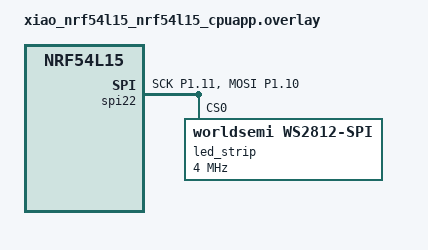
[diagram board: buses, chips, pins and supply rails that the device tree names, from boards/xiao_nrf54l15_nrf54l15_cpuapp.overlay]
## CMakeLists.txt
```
cmake_minimum_required(VERSION 3.20.0)
find_package(Zephyr REQUIRED HINTS $ENV{ZEPHYR_BASE})

project(pixel_xiao_nrf54)

target_include_directories(app PRIVATE
    ${CMAKE_CURRENT_SOURCE_DIR}/../../include   # aura_radio.h - protocol truth
    ${CMAKE_CURRENT_SOURCE_DIR}/../common       # aura_band.h  - shared band layer
)

target_sources(app PRIVATE src/main.c)

# The shared band layer needs the 802.15.4 stack, so key it off the Kconfig
# rather than a separate CMake flag - one switch instead of two that have to
# agree. noradio.conf turns CONFIG_IEEE802154 off and the band layer drops
# out of the build with it.
if(CONFIG_IEEE802154)
  target_sources(app PRIVATE ../common/aura_band.c)
else()
  message(STATUS "aura_band: CONFIG_IEEE802154=n - shared band layer excluded")
endif()
```

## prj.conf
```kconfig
# --- NeoPixel (WS2812) on D4 via SPIM22 ---
CONFIG_SPI=y
CONFIG_LED_STRIP=y
# Selected automatically from the DT compat; listed here for clarity.
CONFIG_WS2812_STRIP_SPI=y

# The nrfx SPIM driver bounces a transfer through a RAM buffer when it judges
# the source not to be DMA-accessible; the default is 8 bytes, which would
# chunk our 24-byte pixel buffer into three transfers. Make it big enough to
# take the whole thing in one go.
CONFIG_SPI_NRFX_RAM_BUFFER_SIZE=32

# --- 802.15.4 raw mode: the driver hands full PSDUs to the shared band
#     layer's net_recv_data() override, same mechanism as the gateway. ---
CONFIG_NETWORKING=y
CONFIG_IEEE802154=y
CONFIG_IEEE802154_RAW_MODE=y
CONFIG_NET_PKT_TIMESTAMP=y
# Matched to AURA/seeedFirmware, which is a WORKING BAND on this silicon
# running the identical aura_band.c. Diverging from it was not worth the few
# KB it saved.
#
# CONFIG_MAIN_STACK_SIZE is deliberately ABSENT. The Seeed board defconfig
# sets 3584; the original hello-world prj.conf here overrode it down to 2048
# and that override survived into the radio firmware. main() runs the whole
# of aura_band_init() - MPSL and the 802.15.4 stack come up underneath it -
# and a main-stack overflow scribbles into low RAM, which is exactly where
# .data lives: _sw_isr_table at 0x2000031c and the net_buf pools at
# 0x20000d20. Both were seen corrupted. Let the board default stand.
CONFIG_NRF_802154_RX_BUFFERS=120

# The FICR device id becomes our 16-bit short address - no provisioning step.
CONFIG_HWINFO=y

# --- Console OFF for battery operation ---
#
# A UART console/shell backend waits on the port and blocks boot when the
# module runs from its cell with no USB attached - the band comes up dark and
# silent and looks dead. Same reason AURA/seeedFirmware ships this way.
#
# The cost is no visibility at all, so the boot blink in main() is the
# diagnostic instead: two white flashes = powered and running.
#
# For bring-up, build with -DEXTRA_CONF_FILE=debug.conf (see debug.conf).
CONFIG_SERIAL=n
CONFIG_UART_CONSOLE=n
CONFIG_UART_INTERRUPT_DRIVEN=n
CONFIG_STDOUT_CONSOLE=n
CONFIG_SHELL=n
CONFIG_SHELL_BACKEND_SERIAL=n

CONFIG_LOG=n
CONFIG_LOG_BACKEND_UART=n

CONFIG_BOOT_BANNER=n
CONFIG_NCS_BOOT_BANNER=n

CONFIG_USB_DEVICE_STACK=n
CONFIG_GPIO=y
```

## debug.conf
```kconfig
# Bench profile: console only. Nothing else.
#
# VS Code -> Add Build Configuration -> Extra Kconfig fragments: debug.conf
#
# prj.conf ships with serial and logging off: a UART console backend blocks
# boot when the board runs from its battery with no USB attached. Do NOT
# flash a debug build for a battery demo.
#
# Console is uart20 -> onboard SAMD11 -> USB-C. CoolTerm 115200 8N1.
#
# WHY THERE IS NOTHING ELSE IN HERE
#
# CONFIG_ASSERT=y used to be in this file and it made the board completely
# dead - no boot blink, no console, on a stage that blinked fine without it.
# Asserts turn a driver init failure that was previously logged and ignored
# into a halt, and that halt can happen before the console exists, so you
# lose the blink AND the message that would explain it. A debug profile that
# makes the board less diagnosable is worse than no debug profile.
#
# Add things back ONE at a time, and only once plain console output works.

CONFIG_SERIAL=y
CONFIG_UART_CONSOLE=y
CONFIG_STDOUT_CONSOLE=y
CONFIG_PRINTK=y

CONFIG_LOG=y
CONFIG_LOG_BACKEND_UART=y
CONFIG_LOG_DEFAULT_LEVEL=3
CONFIG_LOG_MODE_DEFERRED=y
```

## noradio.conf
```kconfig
# Bisect fragment: strip the radio out entirely.
#
# VS Code -> Add Build Configuration -> Extra Kconfig fragments: noradio.conf
# Also set AURA_BAND_STAGE to 1 at the top of src/main.c.
#
# Nothing else. CMakeLists.txt keys the band layer off CONFIG_IEEE802154, so
# turning the radio off here drops aura_band.c from the build automatically.
#
# Together those give a build with no 802.15.4 stack, no aura_band.c linked,
# and no reference to either from main() - just the WS2812 blink. If THAT
# faults, the problem is the board or the base configuration, and nothing
# in the Aetherfield firmware is implicated.

CONFIG_NETWORKING=n
CONFIG_IEEE802154=n
CONFIG_IEEE802154_RAW_MODE=n
CONFIG_NET_PKT_TIMESTAMP=n
CONFIG_HWINFO=n
```

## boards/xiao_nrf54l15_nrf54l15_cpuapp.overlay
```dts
/*
 * NeoPixel (WS2812B) hello-world for Seeed XIAO nRF54L15.
 *
 * Wiring
 *   D4  (P1.10)  -> [470R] -> DIN on the pixel
 *   BAT (+)      -> pixel VDD      (1S LiPo, 3.5-4.2V)
 *   GND          -> pixel GND      (must be common with the XIAO's GND)
 *   10uF across the pixel's VDD/GND, physically at the pixel.
 *
 * The pixel is clocked out by SPIM22 using the standard Zephyr ws2812-spi
 * driver: every WS2812 data bit becomes one 8-bit SPI frame at 4 MHz, so the
 * waveform is generated by EasyDMA and is immune to interrupt jitter. No
 * bit-banging - and no choice in the matter, since Zephyr's ws2812-gpio
 * bitbang driver is gated on nRF51/52/53/91 and does not support nRF54.
 *
 * Why instance 22 specifically
 *   On the nRF54L15 each "serial box" (20, 21, 22, ...) is ONE peripheral that
 *   can be a UARTE *or* SPIM *or* TWIM - never two at once. The SoC enforces
 *   this with a BUILD_ASSERT, so picking a busy box fails the build:
 *     box 20 -> uart20  is the console (zephyr,console / shell)
 *     box 21 -> uart21  is xiao_serial, enabled by the board
 *     box 22 -> i2c22   is xiao_i2c, and its pins are ALREADY D4/D5
 *   So box 22 is both the free one and the one that owns the pins we want.
 *   We disable i2c22 and take the box as SPIM22.
 *
 * D5 (P1.11) is burned as a dummy SCK - the nRF SPIM peripheral requires a
 * clock pin even though the WS2812 never sees it. It was i2c22's SCL anyway,
 * so no pin is lost that wasn't already spoken for. Nothing is connected to it;
 * it just wiggles at 4 MHz during an update.
 *
 * MISO is deliberately unassigned - the WS2812 is write-only, and the board's
 * own spi22_default would have put MISO on P1.09, which is uart20's TX.
 *
 * Consequence: this project cannot also use the board's I2C bus on D4/D5.
 * If this gets merged into seeedFirmware alongside the LP5012 (i2c22), the
 * pixel has to move to another box + pins.
 */

#include <zephyr/dt-bindings/led/led.h>

&gpio1 {
	status = "okay";
};

/* Release the box and the D4/D5 pins. */
&i2c22 {
	status = "disabled";
};

/*
 * The board DTS enables spi00 (xiao_spi - the D8/D9/D10 header SPI) by
 * default. We never use it, but the moment CONFIG_SPI=y is set for the
 * WS2812 the driver initialises EVERY enabled SPI instance, including this
 * one. SPIM00 lives in the nRF54L "fast" peripheral domain alongside the
 * radio's clocking, so it is not something to leave running by accident on
 * a board whose whole job is 802.15.4.
 *
 * The gateway firmware never hit this because it has no SPI at all - which
 * is exactly why the same board runs the gateway image happily and would
 * not run this one.
 */
&spi00 {
	status = "disabled";
};

&pinctrl {
	spi22_ws2812: spi22_ws2812 {
		group1 {
			psels = <NRF_PSEL(SPIM_SCK, 1, 11)>,   /* D5, dummy clock */
				<NRF_PSEL(SPIM_MOSI, 1, 10)>;  /* D4, pixel data  */
		};
	};

	spi22_ws2812_sleep: spi22_ws2812_sleep {
		group1 {
			psels = <NRF_PSEL(SPIM_SCK, 1, 11)>,
				<NRF_PSEL(SPIM_MOSI, 1, 10)>;
			low-power-enable;
		};
	};
};

&spi22 {
	status = "okay";
	pinctrl-0 = <&spi22_ws2812>;
	pinctrl-1 = <&spi22_ws2812_sleep>;
	pinctrl-names = "default", "sleep";

	led_strip: ws2812@0 {
		compatible = "worldsemi,ws2812-spi";
		reg = <0>;

		/* 8 SPI bits per WS2812 bit @ 4 MHz = 2us bit period.
		 * Box 22 tops out at 8 MHz (P1 is the 8 MHz port), so 4 MHz is
		 * comfortably in range.
		 */
		spi-max-frequency = <4000000>;
		spi-one-frame = <0x70>;   /* 0.75us high */
		spi-zero-frame = <0x40>;  /* 0.25us high */

		chain-length = <1>;
		color-mapping = <LED_COLOR_ID_GREEN
				 LED_COLOR_ID_RED
				 LED_COLOR_ID_BLUE>;

		/* WS2812B latches on >50us idle; 280us covers the -B/-V5 parts. */
		reset-delay = <280>;
	};
};

/ {
	aliases {
		led-strip = &led_strip;
	};
};
```

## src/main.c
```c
/*
 * pixel-xiao-nRF54 - single-NeoPixel Aetherfield band, protocol v2
 *
 * XIAO nRF54L15 (non-Sense: no IMU, no mic) + one WS2812B on D4 (P1.10),
 * powered from the 1S LiPo. Design study for the Las Vegas single-pixel
 * form factor.
 *
 * Everything that makes this a band - radio, CMD/SYNC receive, the op_mode
 * state machine, the animation engine, beacons - lives in the shared layer
 * at AURA/common/aura_band.c. All this file does is turn one commanded
 * colour into one WS2812 write.
 *
 * That is the whole point of the v2 capability model. This board advertises
 * AURA_CAPS_PIXEL_XIAO (RGB_LED only), receives exactly the same command
 * frame as a fully-loaded wristband, and acts on the parts it has hardware
 * for. No special case, no separate firmware branch.
 */

/* ------------------------------------------------------------------
 * BISECT STAGE - set this, rebuild, watch the LED.
 *
 * The board is hard-faulting and the console is not reaching us, so the
 * pixel itself is the debug channel. Each stage adds one layer and has its
 * own colour. Whichever stage stops blinking is the layer that faults.
 *
 *   1  WHITE  blink forever. No radio at all - proves the base build,
 *             the WS2812 path and that main() runs.
 *   2  GREEN  blink forever, radio brought up and beaconing, but with
 *             render = NULL so the animation thread never touches SPI.
 *             Survives => radio init and TX are fine.
 *   3  normal operation. The band renders whatever the gateway commands.
 *
 * A stage that faults dies mid-blink: the LED freezes or goes dark and
 * stays there. Note which one and tell me.
 * ------------------------------------------------------------------ */
#define AURA_BAND_STAGE 3

/* ------------------------------------------------------------------
 * PIXEL_DRIVE - does anything ever touch the SPI bus?
 *
 *   0  the strip is never written. CONFIG_SPI, the WS2812 driver and the
 *      SPIM22 instance are all still built and initialised, but no EasyDMA
 *      transfer ever runs. The pixel stays dark - that is expected.
 *   1  normal.
 *
 * This exists to split a hypothesis. The wristband runs the identical
 * aura_band.c perfectly, so the fault is something this project adds. The
 * net_buf pool is already corrupt on the FIRST radio transmit, and the only
 * thing that has run before then is a handful of WS2812 transfers during the
 * boot blink. If PIXEL_DRIVE 0 fixes the radio, the corruption comes from
 * the SPI TRANSFER (EasyDMA), not merely from the driver existing - and that
 * is a completely different bug to chase.
 * ------------------------------------------------------------------ */
#define PIXEL_DRIVE 1

#include <zephyr/kernel.h>
#include <zephyr/device.h>
#include <zephyr/drivers/led_strip.h>
#include <zephyr/drivers/regulator.h>
#include <zephyr/logging/log.h>


#if AURA_BAND_STAGE > 1
#include "aura_band.h"
#endif

LOG_MODULE_REGISTER(pixel, LOG_LEVEL_INF);


#define STRIP_NODE DT_ALIAS(led_strip)
#define STRIP_LEN  DT_PROP(STRIP_NODE, chain_length)

static const struct device *const strip = DEVICE_DT_GET(STRIP_NODE);
static struct led_rgb pixels[STRIP_LEN];
static bool g_have_strip;

/* The one seam. Called at 50 Hz by the shared animation thread.
 *
 * Every pixel gets the same colour: v2 treats a device as ONE light source
 * however many LEDs it carries, so a longer chain here is a devicetree
 * change (chain-length) and nothing else. Spatial modes are reserved at
 * anim_mode 0x10+ for when that stops being true. */
static void pixel_render(uint8_t r, uint8_t g, uint8_t b)
{
	static uint8_t last_r, last_g, last_b;
	static bool primed;

	if (!g_have_strip || !PIXEL_DRIVE) {
		return;
	}

	/* Only touch the bus when the colour actually changes.
	 *
	 * The animation layer runs at 50 Hz, but a STEADY colour or an OFF
	 * pixel produces the same triple every frame. Rewriting it 50 times a
	 * second costs a ~400us SPI burst plus the WS2812 latch delay each
	 * time, for no visible difference - real current on a wearable running
	 * off a cell, and needless bus traffic next to a timing-sensitive
	 * radio. Animations still update every frame, because their colour is
	 * genuinely changing. */
	if (primed && r == last_r && g == last_g && b == last_b) {
		return;
	}
	last_r = r; last_g = g; last_b = b;
	primed = true;

	for (size_t i = 0; i < STRIP_LEN; i++) {
		pixels[i].r = r;
		pixels[i].g = g;
		pixels[i].b = b;
	}
	(void)led_strip_update_rgb(strip, pixels, STRIP_LEN);
}

/* Bring-up trace. One BLUE flash per completed init step, so with no console
 * the LED counts out how far aura_band_init() got. Count the blue flashes:
 *   1 entered  2 address  3 radio device  4 antenna
 *   5 PIB      6 radio started            7 about to start threads
 * Whatever number it stops at is the last step that worked.
 *
 * Nothing may drive the LED after step 7 - from there the animation thread
 * owns it, and a second thread in the same SPI path is a fault. */
#if IS_ENABLED(CONFIG_LOG)
static void init_progress(uint8_t step)
{
	ARG_UNUSED(step);
	pixel_render(0, 0, 120);
	k_msleep(90);
	pixel_render(0, 0, 0);
	k_msleep(260);
}
#endif /* CONFIG_LOG */

/* Blink forever in one colour. Used by the bisect stages: a frozen or dark
 * LED means we faulted, and the colour says how far we got. */
static void blink_forever(uint8_t r, uint8_t g, uint8_t b)
{
	while (1) {
		pixel_render(r, g, b);
		k_msleep(250);
		pixel_render(0, 0, 0);
		k_msleep(750);
	}
}

int main(void)
{
	/* ------------------------------------------------------------------
	 * COLD-BOOT POWER BUDGET
	 *
	 * This board runs on USB, and RUNS on battery if booted on USB first -
	 * but a cold boot on battery can fail entirely. That pattern is
	 * brownout: boot stacks the HFXO start, MPSL radio bring-up, regulator
	 * switching and LED current into the first couple of seconds, and a
	 * cell (plus thin leads) sags under the surge where a USB supply does
	 * not. The nRF hits its reset threshold and loops, looking stone dead.
	 *
	 * So boot is deliberately staggered: settle, then the cheapest visible
	 * "alive" signal, then settle again, then the radio. Total ~1s.
	 * ------------------------------------------------------------------ */

	/* 1. Let the rail recover from the power-on transient before adding
	 *    any load at all. */
	k_msleep(400);

	/* 2. VBAT rail, explicitly - AURA/seeedFirmware does the same and
	 *    notes it is required for battery operation. */
	const struct device *vbat = DEVICE_DT_GET_OR_NULL(DT_NODELABEL(vbat_pwr));

	if (vbat && device_is_ready(vbat)) {
		(void)regulator_enable(vbat);
		k_msleep(100);          /* let it settle */
	}

	g_have_strip = device_is_ready(strip);
	if (!g_have_strip) {
		LOG_ERR("LED strip not ready - check the overlay; running dark");
	}

	/* 3. Latch the pixel dark. A WS2812 sits directly on the BAT rail and
	 *    can wake in a random state; also clears any stale colour after a
	 *    warm reset. One write, tiny load. */
	pixel_render(0, 0, 0);

	/* 4. Alive signal: ONE dim RED blink.
	 *
	 *    Red replaces the old two white blinks deliberately. White drives
	 *    all three dice (~20 mA) at the exact moment the rail is weakest,
	 *    and the green/blue dice have the highest forward voltage - the
	 *    first things to misbehave on a sagging cell. The red die is the
	 *    cheapest and most voltage-tolerant light this board can make. */
	k_msleep(200);
	pixel_render(40, 0, 0);
	k_msleep(120);
	pixel_render(0, 0, 0);

	/* 5. Rail recovery before the radio calibration surge. */
	k_msleep(300);

#if AURA_BAND_STAGE == 1
	/* No radio, and with -DAURA_NO_RADIO=y the band layer is not even
	 * linked and the 802.15.4 stack is not built. This is as close to the
	 * original working hello-world as it gets. If it does not blink white
	 * forever, nothing Aetherfield is involved. */
	blink_forever(60, 60, 60);
	return 0;
}
#else

	struct aura_band_cfg cfg = {
		.caps = AURA_CAPS_PIXEL_XIAO,   /* RGB_LED only */
		.group_mask = 0x02,   /* pixel module. Wristband is 0x01 - see
				       * AURA/seeedFirmware/src/main.c */
#if AURA_BAND_STAGE >= 3
		.render = pixel_render,
#else
		.render = NULL,       /* stage 2: radio only, no SPI from the
				       * animation thread */
#endif
		.battery_pct = NULL,            /* no divider fitted on this rig */
		.antenna_external = false,      /* onboard ceramic - set true only
						 * if a u.FL antenna is fitted */
		/* Bring-up trace only on a build that has a console anyway.
		 * On the battery build it would add ~2.5s of blue flashing
		 * before the band is any use, and the two white boot blinks
		 * already say "alive". */
#if IS_ENABLED(CONFIG_LOG)
		.progress = init_progress,
#else
		.progress = NULL,
#endif
	};

	if (aura_band_init(&cfg) != 0) {
		LOG_ERR("aura_band_init failed");
		blink_forever(120, 0, 0);   /* RED: init returned an error */
	}

	LOG_INF("pixel band v%u up: addr=0x%04X caps=0x%02X pixels=%d",
		AURA_VER, aura_band_addr(), AURA_CAPS_PIXEL_XIAO, STRIP_LEN);

#if AURA_BAND_STAGE == 2
	/* Radio is up and the band is beaconing. If this blinks green forever,
	 * radio init and TX are fine and the fault is in the render path. */
	blink_forever(0, 90, 0);
#endif

	while (1) {
		k_msleep(1000);
	}
	return 0;
}
#endif /* AURA_BAND_STAGE == 1 */
```
